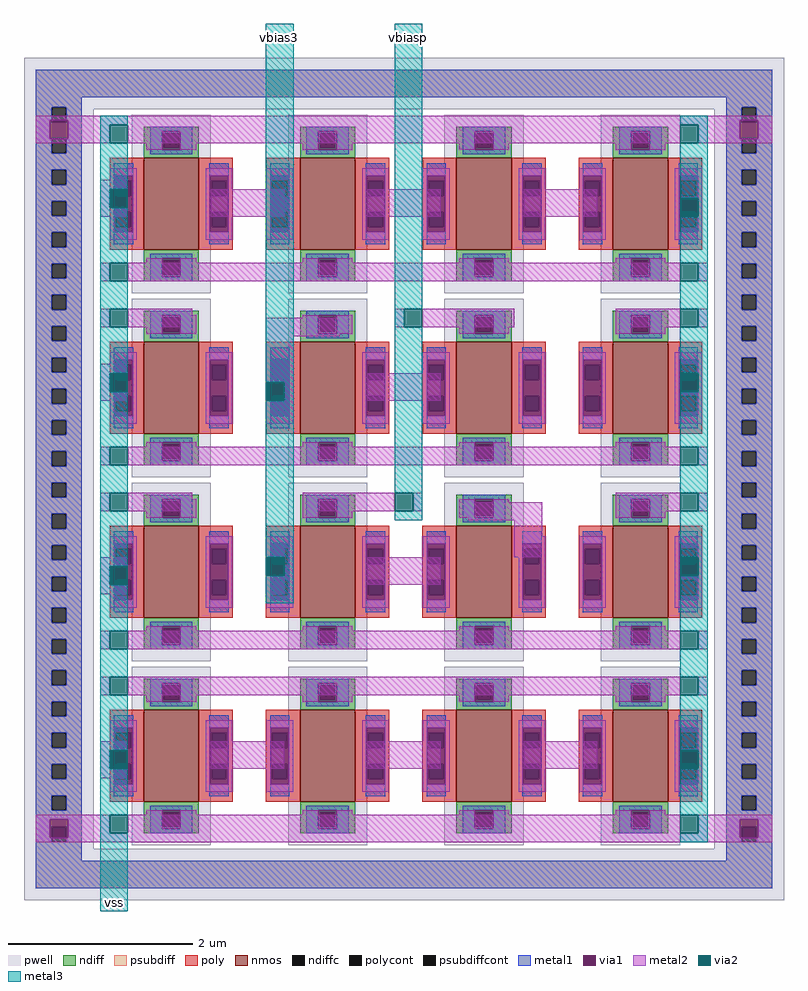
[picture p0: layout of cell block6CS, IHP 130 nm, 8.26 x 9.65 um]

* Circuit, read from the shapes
.subckt block6CS vbiasp vbias3 vss
XM1 vss vss vss vss sg13_lv_nmos w=0.6u l=1u m=12
XM2 vbiasp vbias3 vss vss sg13_lv_nmos w=0.6u l=1u m=2
XM3 vbias3 vbias3 vss vss sg13_lv_nmos w=0.6u l=1u m=2
.ends

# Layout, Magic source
magic
tech ihp-sg13g2
<< pwell >>
rect -93 187 733 243
rect -93 -617 -17 187
rect 657 -617 733 187
rect -93 -673 733 -617
<< psubdiff >>
rect -80 200 720 230
rect -80 189 -30 200
rect -80 173 -63 189
rect -47 173 -30 189
rect -80 155 -30 173
rect -80 139 -63 155
rect -47 139 -30 155
rect -80 121 -30 139
rect -80 105 -63 121
rect -47 105 -30 121
rect -80 87 -30 105
rect -80 71 -63 87
rect -47 71 -30 87
rect -80 53 -30 71
rect -80 37 -63 53
rect -47 37 -30 53
rect -80 19 -30 37
rect -80 3 -63 19
rect -47 3 -30 19
rect -80 -15 -30 3
rect -80 -31 -63 -15
rect -47 -31 -30 -15
rect -80 -49 -30 -31
rect -80 -65 -63 -49
rect -47 -65 -30 -49
rect -80 -83 -30 -65
rect -80 -99 -63 -83
rect -47 -99 -30 -83
rect -80 -117 -30 -99
rect -80 -133 -63 -117
rect -47 -133 -30 -117
rect -80 -151 -30 -133
rect -80 -167 -63 -151
rect -47 -167 -30 -151
rect -80 -185 -30 -167
rect -80 -201 -63 -185
rect -47 -201 -30 -185
rect -80 -219 -30 -201
rect -80 -235 -63 -219
rect -47 -235 -30 -219
rect -80 -253 -30 -235
rect -80 -269 -63 -253
rect -47 -269 -30 -253
rect -80 -287 -30 -269
rect -80 -303 -63 -287
rect -47 -303 -30 -287
rect -80 -321 -30 -303
rect -80 -337 -63 -321
rect -47 -337 -30 -321
rect -80 -355 -30 -337
rect -80 -371 -63 -355
rect -47 -371 -30 -355
rect -80 -389 -30 -371
rect -80 -405 -63 -389
rect -47 -405 -30 -389
rect -80 -423 -30 -405
rect -80 -439 -63 -423
rect -47 -439 -30 -423
rect -80 -457 -30 -439
rect -80 -473 -63 -457
rect -47 -473 -30 -457
rect -80 -491 -30 -473
rect -80 -507 -63 -491
rect -47 -507 -30 -491
rect -80 -525 -30 -507
rect -80 -541 -63 -525
rect -47 -541 -30 -525
rect -80 -559 -30 -541
rect -80 -575 -63 -559
rect -47 -575 -30 -559
rect -80 -593 -30 -575
rect -80 -609 -63 -593
rect -47 -609 -30 -593
rect -80 -630 -30 -609
rect 670 189 720 200
rect 670 173 687 189
rect 703 173 720 189
rect 670 155 720 173
rect 670 139 687 155
rect 703 139 720 155
rect 670 121 720 139
rect 670 105 687 121
rect 703 105 720 121
rect 670 87 720 105
rect 670 71 687 87
rect 703 71 720 87
rect 670 53 720 71
rect 670 37 687 53
rect 703 37 720 53
rect 670 19 720 37
rect 670 3 687 19
rect 703 3 720 19
rect 670 -15 720 3
rect 670 -31 687 -15
rect 703 -31 720 -15
rect 670 -49 720 -31
rect 670 -65 687 -49
rect 703 -65 720 -49
rect 670 -83 720 -65
rect 670 -99 687 -83
rect 703 -99 720 -83
rect 670 -117 720 -99
rect 670 -133 687 -117
rect 703 -133 720 -117
rect 670 -151 720 -133
rect 670 -167 687 -151
rect 703 -167 720 -151
rect 670 -185 720 -167
rect 670 -201 687 -185
rect 703 -201 720 -185
rect 670 -219 720 -201
rect 670 -235 687 -219
rect 703 -235 720 -219
rect 670 -253 720 -235
rect 670 -269 687 -253
rect 703 -269 720 -253
rect 670 -287 720 -269
rect 670 -303 687 -287
rect 703 -303 720 -287
rect 670 -321 720 -303
rect 670 -337 687 -321
rect 703 -337 720 -321
rect 670 -355 720 -337
rect 670 -371 687 -355
rect 703 -371 720 -355
rect 670 -389 720 -371
rect 670 -405 687 -389
rect 703 -405 720 -389
rect 670 -423 720 -405
rect 670 -439 687 -423
rect 703 -439 720 -423
rect 670 -457 720 -439
rect 670 -473 687 -457
rect 703 -473 720 -457
rect 670 -491 720 -473
rect 670 -507 687 -491
rect 703 -507 720 -491
rect 670 -525 720 -507
rect 670 -541 687 -525
rect 703 -541 720 -525
rect 670 -559 720 -541
rect 670 -575 687 -559
rect 703 -575 720 -559
rect 670 -593 720 -575
rect 670 -609 687 -593
rect 703 -609 720 -593
rect 670 -630 720 -609
rect -80 -660 720 -630
<< psubdiffcont >>
rect -63 173 -47 189
rect -63 139 -47 155
rect -63 105 -47 121
rect -63 71 -47 87
rect -63 37 -47 53
rect -63 3 -47 19
rect -63 -31 -47 -15
rect -63 -65 -47 -49
rect -63 -99 -47 -83
rect -63 -133 -47 -117
rect -63 -167 -47 -151
rect -63 -201 -47 -185
rect -63 -235 -47 -219
rect -63 -269 -47 -253
rect -63 -303 -47 -287
rect -63 -337 -47 -321
rect -63 -371 -47 -355
rect -63 -405 -47 -389
rect -63 -439 -47 -423
rect -63 -473 -47 -457
rect -63 -507 -47 -491
rect -63 -541 -47 -525
rect -63 -575 -47 -559
rect -63 -609 -47 -593
rect 687 173 703 189
rect 687 139 703 155
rect 687 105 703 121
rect 687 71 703 87
rect 687 37 703 53
rect 687 3 703 19
rect 687 -31 703 -15
rect 687 -65 703 -49
rect 687 -99 703 -83
rect 687 -133 703 -117
rect 687 -167 703 -151
rect 687 -201 703 -185
rect 687 -235 703 -219
rect 687 -269 703 -253
rect 687 -303 703 -287
rect 687 -337 703 -321
rect 687 -371 703 -355
rect 687 -405 703 -389
rect 687 -439 703 -423
rect 687 -473 703 -457
rect 687 -507 703 -491
rect 687 -541 703 -525
rect 687 -575 703 -559
rect 687 -609 703 -593
<< metal1 >>
rect -80 200 720 230
rect -80 189 -30 200
rect -80 175 -63 189
rect -47 175 -30 189
rect -80 155 -65 175
rect -45 155 -30 175
rect -80 139 -63 155
rect -47 139 -30 155
rect -80 121 -30 139
rect -80 105 -63 121
rect -47 105 -30 121
rect -80 87 -30 105
rect -80 71 -63 87
rect -47 71 -30 87
rect -80 53 -30 71
rect -80 37 -63 53
rect -47 37 -30 53
rect -80 19 -30 37
rect -80 3 -63 19
rect -47 3 -30 19
rect -80 -15 -30 3
rect -80 -31 -63 -15
rect -47 -31 -30 -15
rect -80 -49 -30 -31
rect -80 -65 -63 -49
rect -47 -65 -30 -49
rect -80 -83 -30 -65
rect -80 -99 -63 -83
rect -47 -99 -30 -83
rect -80 -117 -30 -99
rect -80 -133 -63 -117
rect -47 -133 -30 -117
rect -80 -151 -30 -133
rect -80 -167 -63 -151
rect -47 -167 -30 -151
rect -80 -185 -30 -167
rect -80 -201 -63 -185
rect -47 -201 -30 -185
rect -80 -219 -30 -201
rect -80 -235 -63 -219
rect -47 -235 -30 -219
rect -80 -253 -30 -235
rect -80 -269 -63 -253
rect -47 -269 -30 -253
rect -80 -287 -30 -269
rect -80 -303 -63 -287
rect -47 -303 -30 -287
rect -80 -321 -30 -303
rect -80 -337 -63 -321
rect -47 -337 -30 -321
rect -80 -355 -30 -337
rect -80 -371 -63 -355
rect -47 -371 -30 -355
rect -80 -389 -30 -371
rect -80 -405 -63 -389
rect -47 -405 -30 -389
rect -80 -423 -30 -405
rect -80 -439 -63 -423
rect -47 -439 -30 -423
rect -80 -457 -30 -439
rect -80 -473 -63 -457
rect -47 -473 -30 -457
rect -80 -491 -30 -473
rect -80 -507 -63 -491
rect -47 -507 -30 -491
rect -80 -525 -30 -507
rect -80 -541 -63 -525
rect -47 -541 -30 -525
rect -80 -559 -30 -541
rect -80 -575 -63 -559
rect -47 -575 -30 -559
rect -80 -585 -30 -575
rect -80 -605 -65 -585
rect -45 -605 -30 -585
rect -80 -609 -63 -605
rect -47 -609 -30 -605
rect -80 -630 -30 -609
rect 670 189 720 200
rect 670 175 687 189
rect 703 175 720 189
rect 670 155 685 175
rect 705 155 720 175
rect 670 139 687 155
rect 703 139 720 155
rect 670 121 720 139
rect 670 105 687 121
rect 703 105 720 121
rect 670 87 720 105
rect 670 71 687 87
rect 703 71 720 87
rect 670 53 720 71
rect 670 37 687 53
rect 703 37 720 53
rect 670 19 720 37
rect 670 3 687 19
rect 703 3 720 19
rect 670 -15 720 3
rect 670 -31 687 -15
rect 703 -31 720 -15
rect 670 -49 720 -31
rect 670 -65 687 -49
rect 703 -65 720 -49
rect 670 -83 720 -65
rect 670 -99 687 -83
rect 703 -99 720 -83
rect 670 -117 720 -99
rect 670 -133 687 -117
rect 703 -133 720 -117
rect 670 -151 720 -133
rect 670 -167 687 -151
rect 703 -167 720 -151
rect 670 -185 720 -167
rect 670 -201 687 -185
rect 703 -201 720 -185
rect 670 -219 720 -201
rect 670 -235 687 -219
rect 703 -235 720 -219
rect 670 -253 720 -235
rect 670 -269 687 -253
rect 703 -269 720 -253
rect 670 -287 720 -269
rect 670 -303 687 -287
rect 703 -303 720 -287
rect 670 -321 720 -303
rect 670 -337 687 -321
rect 703 -337 720 -321
rect 670 -355 720 -337
rect 670 -371 687 -355
rect 703 -371 720 -355
rect 670 -389 720 -371
rect 670 -405 687 -389
rect 703 -405 720 -389
rect 670 -423 720 -405
rect 670 -439 687 -423
rect 703 -439 720 -423
rect 670 -457 720 -439
rect 670 -473 687 -457
rect 703 -473 720 -457
rect 670 -491 720 -473
rect 670 -507 687 -491
rect 703 -507 720 -491
rect 670 -525 720 -507
rect 670 -541 687 -525
rect 703 -541 720 -525
rect 670 -559 720 -541
rect 670 -575 687 -559
rect 703 -575 720 -559
rect 670 -585 720 -575
rect 670 -605 685 -585
rect 705 -605 720 -585
rect 670 -609 687 -605
rect 703 -609 720 -605
rect 670 -630 720 -609
rect -80 -660 720 -630
<< via1 >>
rect -65 173 -63 175
rect -63 173 -47 175
rect -47 173 -45 175
rect -65 155 -45 173
rect -65 -593 -45 -585
rect -65 -605 -63 -593
rect -63 -605 -47 -593
rect -47 -605 -45 -593
rect 685 173 687 175
rect 687 173 703 175
rect 703 173 705 175
rect 685 155 705 173
rect 685 -593 705 -585
rect 685 -605 687 -593
rect 687 -605 703 -593
rect 703 -605 705 -593
<< metal2 >>
rect -80 175 720 180
rect -80 155 -65 175
rect -45 170 685 175
rect -45 155 0 170
rect -80 150 0 155
rect 20 150 620 170
rect 640 155 685 170
rect 705 155 720 175
rect 640 150 720 155
rect -10 100 20 110
rect -10 80 0 100
rect -10 70 20 80
rect 110 70 190 100
rect 280 70 360 100
rect 450 70 530 100
rect -10 0 0 20
rect 20 0 620 20
rect 640 0 650 20
rect -10 -50 0 -30
rect 20 -50 90 -30
rect 170 -60 250 -40
rect 310 -50 320 -30
rect 340 -50 440 -30
rect 550 -50 620 -30
rect 640 -50 650 -30
rect -10 -100 20 -90
rect -10 -120 0 -100
rect -10 -130 20 -120
rect 170 -110 200 -60
rect 190 -130 200 -110
rect 280 -130 360 -100
rect 170 -150 200 -130
rect -10 -200 0 -180
rect 20 -200 620 -180
rect 640 -200 650 -180
rect -10 -250 0 -230
rect 20 -250 90 -230
rect 210 -250 310 -230
rect 330 -250 340 -230
rect 390 -260 470 -240
rect 550 -250 620 -230
rect 640 -250 650 -230
rect 170 -300 190 -280
rect 440 -300 470 -260
rect -10 -310 20 -300
rect -10 -330 0 -310
rect -10 -340 20 -330
rect 170 -340 190 -320
rect 280 -330 360 -300
rect -10 -400 0 -380
rect 20 -400 620 -380
rect 640 -400 650 -380
rect -10 -450 0 -430
rect 20 -450 620 -430
rect 640 -450 650 -430
rect -10 -510 20 -500
rect -10 -530 0 -510
rect 110 -530 190 -500
rect 280 -530 360 -500
rect 450 -530 530 -500
rect -10 -540 20 -530
rect -80 -585 0 -580
rect -80 -605 -65 -585
rect -45 -600 0 -585
rect 20 -600 620 -580
rect 640 -585 720 -580
rect 640 -600 685 -585
rect -45 -605 685 -600
rect 705 -605 720 -585
rect -80 -610 720 -605
<< via2 >>
rect 0 150 20 170
rect 620 150 640 170
rect 0 80 20 100
rect 620 70 640 90
rect 0 0 20 20
rect 620 0 640 20
rect 0 -50 20 -30
rect 320 -50 340 -30
rect 620 -50 640 -30
rect 0 -120 20 -100
rect 170 -130 190 -110
rect 620 -120 640 -100
rect 0 -200 20 -180
rect 620 -200 640 -180
rect 0 -250 20 -230
rect 310 -250 330 -230
rect 620 -250 640 -230
rect 0 -330 20 -310
rect 170 -320 190 -300
rect 620 -320 640 -300
rect 0 -400 20 -380
rect 620 -400 640 -380
rect 0 -450 20 -430
rect 620 -450 640 -430
rect 0 -530 20 -510
rect 620 -530 640 -510
rect 0 -600 20 -580
rect 620 -600 640 -580
<< metal3 >>
rect -10 170 20 180
rect -10 150 0 170
rect -10 100 20 150
rect -10 80 0 100
rect -10 20 20 80
rect -10 0 0 20
rect -10 -30 20 0
rect -10 -50 0 -30
rect -10 -100 20 -50
rect -10 -120 0 -100
rect -10 -180 20 -120
rect -10 -200 0 -180
rect -10 -230 20 -200
rect -10 -250 0 -230
rect -10 -310 20 -250
rect -10 -330 0 -310
rect -10 -380 20 -330
rect 170 -110 200 280
rect 190 -130 200 -110
rect 170 -300 200 -130
rect 310 -30 340 280
rect 310 -50 320 -30
rect 310 -230 340 -50
rect 330 -250 340 -230
rect 310 -260 340 -250
rect 620 170 650 180
rect 640 150 650 170
rect 620 90 650 150
rect 640 70 650 90
rect 620 20 650 70
rect 640 0 650 20
rect 620 -30 650 0
rect 640 -50 650 -30
rect 620 -100 650 -50
rect 640 -120 650 -100
rect 620 -180 650 -120
rect 640 -200 650 -180
rect 620 -230 650 -200
rect 640 -250 650 -230
rect 190 -320 200 -300
rect 170 -350 200 -320
rect 620 -300 650 -250
rect 640 -320 650 -300
rect -10 -400 0 -380
rect -10 -430 20 -400
rect -10 -450 0 -430
rect -10 -510 20 -450
rect -10 -530 0 -510
rect -10 -580 20 -530
rect -10 -600 0 -580
rect -10 -685 20 -600
rect 620 -380 650 -320
rect 640 -400 650 -380
rect 620 -430 650 -400
rect 640 -450 650 -430
rect 620 -510 650 -450
rect 640 -530 650 -510
rect 620 -580 650 -530
rect 640 -600 650 -580
rect 620 -610 650 -600
use sg13_lv_nmos_C5Z7V5  sg13_lv_nmos_C5Z7V5_0
transform 0 1 67 -1 0 84
box -97 -67 97 67
use sg13_lv_nmos_C5Z7V5  sg13_lv_nmos_C5Z7V5_1
transform 0 1 237 -1 0 84
box -97 -67 97 67
use sg13_lv_nmos_C5Z7V5  sg13_lv_nmos_C5Z7V5_2
transform 0 1 407 -1 0 84
box -97 -67 97 67
use sg13_lv_nmos_C5Z7V5  sg13_lv_nmos_C5Z7V5_3
transform 0 1 577 -1 0 84
box -97 -67 97 67
use sg13_lv_nmos_C5Z7V5  sg13_lv_nmos_C5Z7V5_4
transform 0 1 67 -1 0 -116
box -97 -67 97 67
use sg13_lv_nmos_C5Z7V5  sg13_lv_nmos_C5Z7V5_5
transform 0 1 237 -1 0 -116
box -97 -67 97 67
use sg13_lv_nmos_C5Z7V5  sg13_lv_nmos_C5Z7V5_6
transform 0 1 407 -1 0 -116
box -97 -67 97 67
use sg13_lv_nmos_C5Z7V5  sg13_lv_nmos_C5Z7V5_7
transform 0 1 577 -1 0 -116
box -97 -67 97 67
use sg13_lv_nmos_C5Z7V5  sg13_lv_nmos_C5Z7V5_8
transform 0 1 67 -1 0 -316
box -97 -67 97 67
use sg13_lv_nmos_C5Z7V5  sg13_lv_nmos_C5Z7V5_9
transform 0 1 237 -1 0 -316
box -97 -67 97 67
use sg13_lv_nmos_C5Z7V5  sg13_lv_nmos_C5Z7V5_10
transform 0 1 407 -1 0 -316
box -97 -67 97 67
use sg13_lv_nmos_C5Z7V5  sg13_lv_nmos_C5Z7V5_11
transform 0 1 577 -1 0 -316
box -97 -67 97 67
use sg13_lv_nmos_C5Z7V5  sg13_lv_nmos_C5Z7V5_12
transform 0 1 67 -1 0 -516
box -97 -67 97 67
use sg13_lv_nmos_C5Z7V5  sg13_lv_nmos_C5Z7V5_13
transform 0 1 237 -1 0 -516
box -97 -67 97 67
use sg13_lv_nmos_C5Z7V5  sg13_lv_nmos_C5Z7V5_14
transform 0 1 407 -1 0 -516
box -97 -67 97 67
use sg13_lv_nmos_C5Z7V5  sg13_lv_nmos_C5Z7V5_15
transform 0 1 577 -1 0 -516
box -97 -67 97 67
<< labels >>
rlabel metal3 s 310 250 340 280 4 vbiasp
port 1 nsew
rlabel metal3 s 170 250 200 280 4 vbias3
port 2 nsew
rlabel metal3 s -10 -685 20 -665 4 vss
port 3 nsew
<< end >>

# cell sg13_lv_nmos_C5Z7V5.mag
magic
tech ihp-sg13g2
magscale 1 2
<< pwell >>
rect -194 -86 194 86
<< nmos >>
rect -100 -60 100 60
<< ndiff >>
rect -168 16 -100 60
rect -168 -16 -154 16
rect -122 -16 -100 16
rect -168 -60 -100 -16
rect 100 16 168 60
rect 100 -16 122 16
rect 154 -16 168 16
rect 100 -60 168 -16
<< ndiffc >>
rect -154 -16 -122 16
rect 122 -16 154 16
<< poly >>
rect -100 120 100 134
rect -100 88 -50 120
rect -18 88 18 120
rect 50 88 100 120
rect -100 60 100 88
rect -100 -88 100 -60
rect -100 -120 -50 -88
rect -18 -120 18 -88
rect 50 -120 100 -88
rect -100 -134 100 -120
<< polycont >>
rect -50 88 -18 120
rect 18 88 50 120
rect -50 -120 -18 -88
rect 18 -120 50 -88
<< metal1 >>
rect -88 124 88 125
rect -88 84 -61 124
rect 61 84 88 124
rect -88 83 88 84
rect -168 20 -108 46
rect -168 -20 -158 20
rect -118 -20 -108 20
rect -168 -46 -108 -20
rect 108 20 168 46
rect 108 -20 118 20
rect 158 -20 168 20
rect 108 -46 168 -20
rect -88 -84 88 -83
rect -88 -124 -61 -84
rect 61 -124 88 -84
rect -88 -125 88 -124
<< via1 >>
rect -61 120 61 124
rect -61 88 -50 120
rect -50 88 -18 120
rect -18 88 18 120
rect 18 88 50 120
rect 50 88 61 120
rect -61 84 61 88
rect -158 16 -118 20
rect -158 -16 -154 16
rect -154 -16 -122 16
rect -122 -16 -118 16
rect -158 -20 -118 -16
rect 118 16 158 20
rect 118 -16 122 16
rect 122 -16 154 16
rect 154 -16 158 16
rect 118 -20 158 -16
rect -61 -88 61 -84
rect -61 -120 -50 -88
rect -50 -120 -18 -88
rect -18 -120 18 -88
rect 18 -120 50 -88
rect 50 -120 61 -88
rect -61 -124 61 -120
<< metal2 >>
rect -78 124 78 133
rect -78 84 -61 124
rect 61 84 78 124
rect -78 75 78 84
rect -158 20 -118 54
rect -158 -54 -118 -20
rect 118 20 158 54
rect 118 -54 158 -20
rect -78 -84 78 -75
rect -78 -124 -61 -84
rect 61 -124 78 -84
rect -78 -133 78 -124
<< labels >>
rlabel metal1 s -138 0 -138 0 4 D
rlabel metal1 s 138 0 138 0 4 S
rlabel metal1 s 0 104 0 104 4 G
<< end >>
